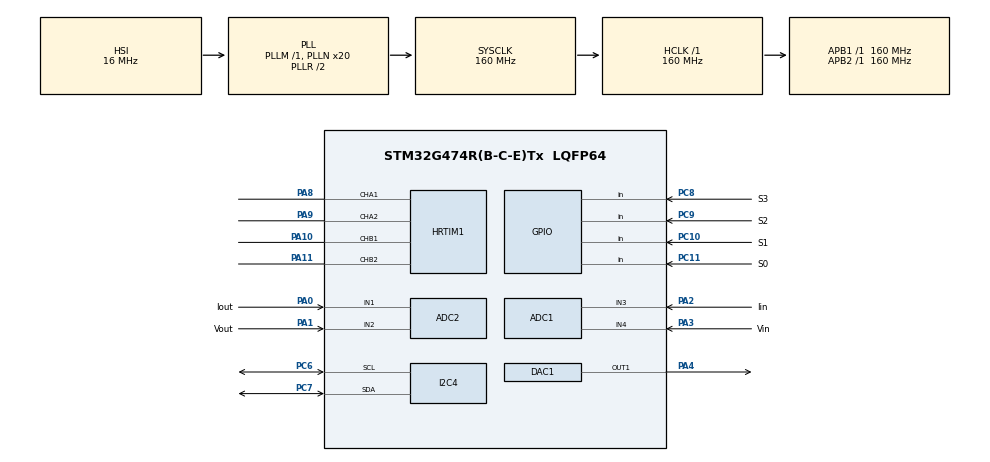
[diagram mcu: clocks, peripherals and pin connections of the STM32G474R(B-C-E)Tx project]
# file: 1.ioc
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ADC1.EnableInjectedConversion=ENABLE
ADC1.EnableRegularConversion=DISABLE
ADC1.ExternalTrigInjecConv=ADC_EXTERNALTRIGINJEC_HRTIM_TRG2
ADC1.InjNumberOfConversion=2
ADC1.InjectedChannel-5\#ChannelInjectedConversion=ADC_CHANNEL_3
ADC1.InjectedChannel-6\#ChannelInjectedConversion=ADC_CHANNEL_4
ADC1.InjectedConvMode=None
ADC1.InjectedOffsetNumber-5\#ChannelInjectedConversion=ADC_OFFSET_NONE
ADC1.InjectedOffsetNumber-6\#ChannelInjectedConversion=ADC_OFFSET_NONE
ADC1.InjectedRank-5\#ChannelInjectedConversion=1
ADC1.InjectedRank-6\#ChannelInjectedConversion=2
ADC1.InjectedSamplingTime-5\#ChannelInjectedConversion=ADC_SAMPLETIME_2CYCLES_5
ADC1.InjectedSamplingTime-6\#ChannelInjectedConversion=ADC_SAMPLETIME_2CYCLES_5
ADC1.Rank1_Channel=ADC_CHANNEL_3
ADC1.Rank2_Channel=ADC_CHANNEL_4
ADC1.Rank3_Channel=ADC_CHANNEL_1
ADC1.Rank4_Channel=ADC_CHANNEL_1
ADC1.master=1
ADC2.EnableInjectedConversion=ENABLE
ADC2.EnableRegularConversion=DISABLE
ADC2.ExternalTrigInjecConv=ADC_EXTERNALTRIGINJEC_HRTIM_TRG2
ADC2.InjNumberOfConversion=2
ADC2.InjectedChannel-3\#ChannelInjectedConversion=ADC_CHANNEL_1
ADC2.InjectedChannel-4\#ChannelInjectedConversion=ADC_CHANNEL_1
ADC2.InjectedOffsetNumber-3\#ChannelInjectedConversion=ADC_OFFSET_NONE
ADC2.InjectedOffsetNumber-4\#ChannelInjectedConversion=ADC_OFFSET_NONE
ADC2.InjectedRank-3\#ChannelInjectedConversion=1
ADC2.InjectedRank-4\#ChannelInjectedConversion=2
ADC2.InjectedSamplingTime-3\#ChannelInjectedConversion=ADC_SAMPLETIME_2CYCLES_5
ADC2.InjectedSamplingTime-4\#ChannelInjectedConversion=ADC_SAMPLETIME_2CYCLES_5
ADC2.Rank1_Channel=ADC_CHANNEL_1
ADC2.Rank2_Channel=ADC_CHANNEL_1
DAC1.DAC_Trigger_OUT1-DAC_OUT1_ExtAndInt=DAC_TRIGGER_SOFTWARE
HRTIM1.ADCTrigger2_Source1=HRTIM_ADCTRIGGEREVENT24_TIMERA_CMP2
HRTIM1.ADCTrigger_Id2=HRTIM_ADCTRIGGER_2
HRTIM1.CompareUnit1-Output_TA1TA2=HRTIM_COMPAREUNIT_1
HRTIM1.CompareUnit1-Output_TB1TB2=HRTIM_COMPAREUNIT_1
HRTIM1.CompareUnit2-Output_TA1TA2=HRTIM_COMPAREUNIT_2
HRTIM1.CompareUnit2-Output_TB1TB2=HRTIM_COMPAREUNIT_2
HRTIM1.CompareUnit3-Output_TA1TA2=__NULL
HRTIM1.CompareUnit3-Output_TB1TB2=__NULL
HRTIM1.CompareValue1-Output_TA1TA2=25600
HRTIM1.CompareValue1-Output_TB1TB2=25600
HRTIM1.CompareValue2-Output_TA1TA2=25600
HRTIM1.CompareValue2-Output_TB1TB2=25600
HRTIM1.DeadTimeInsertion-Output_TA1TA2=HRTIM_TIMDEADTIMEINSERTION_ENABLED
HRTIM1.DeadTimeInsertion-Output_TB1TB2=HRTIM_TIMDEADTIMEINSERTION_ENABLED
HRTIM1.NumberADCTriggerSource2=1
HRTIM1.NumberResetSource1-Output_TA1TA2=1
HRTIM1.NumberResetSource1-Output_TB1TB2=1
HRTIM1.NumberResetTrigger-Output_TA1TA2=0
HRTIM1.NumberSetSource1-Output_TA1TA2=1
HRTIM1.NumberSetSource1-Output_TB1TB2=1
HRTIM1.ORingUpdateSource_ADCTrigger2=HRTIM_ADCTRIGGERUPDATE_TIMER_A
HRTIM1.Periode_TA=51200
HRTIM1.Periode_TB=51200
HRTIM1.PreloadEnable-Output_TA1TA2=HRTIM_PRELOAD_ENABLED
HRTIM1.PreloadEnable-Output_TB1TB2=HRTIM_PRELOAD_ENABLED
HRTIM1.PrescalerRatio_TA=HRTIM_PRESCALERRATIO_MUL16
HRTIM1.PrescalerRatio_TB=HRTIM_PRESCALERRATIO_MUL16
HRTIM1.ResetOutput1_Source1-Output_TA1TA2=HRTIM_OUTPUTRESET_TIMPER
HRTIM1.ResetOutput1_Source1-Output_TB1TB2=HRTIM_OUTPUTRESET_TIMPER
HRTIM1.RisingValue-Output_TA1TA2=100
HRTIM1.RisingValue-Output_TB1TB2=100
HRTIM1.SetOutput1_Source1-Output_TA1TA2=HRTIM_OUTPUTSET_TIMCMP1
HRTIM1.SetOutput1_Source1-Output_TB1TB2=HRTIM_OUTPUTSET_TIMCMP1
HRTIM1.UpDownMode-Output_TA1TA2=HRTIM_TIMERUPDOWNMODE_UP
I2C4.Timing=0x30D29DE4
Mcu.Family=STM32G4
Mcu.Name=STM32G474R(B-C-E)Tx
Mcu.Package=LQFP64
NVIC.ADC1_2_IRQn=true\:0\:0\:false\:false\:true\:true\:true\:true
NVIC.HRTIM1_Master_IRQn=false\:0\:0\:false\:false\:true\:true\:true\:true
NVIC.PriorityGroup=NVIC_PRIORITYGROUP_4
PA0.GPIO_Label=Iout
PA0.Mode=IN1-Single-Ended
PA0.Signal=ADC2_IN1
PA1.GPIO_Label=Vout
PA1.Mode=IN2-Single-Ended
PA1.Signal=ADC2_IN2
PA10.Mode=Output_TB1TB2
PA10.Signal=HRTIM1_CHB1
PA11.Mode=Output_TB1TB2
PA11.Signal=HRTIM1_CHB2
PA13.Mode=Serial_Wire
PA13.Signal=SYS_JTMS-SWDIO
PA14.Mode=Serial_Wire
PA14.Signal=SYS_JTCK-SWCLK
PA2.GPIO_Label=Iin
PA2.Mode=IN3-Single-Ended
PA2.Signal=ADC1_IN3
PA3.GPIO_Label=Vin
PA3.Mode=IN4-Single-Ended
PA3.Signal=ADC1_IN4
PA4.Signal=COMP_DAC11_group
PA8.Mode=Output_TA1TA2
PA8.Signal=HRTIM1_CHA1
PA9.Mode=Output_TA1TA2
PA9.Signal=HRTIM1_CHA2
PC10.GPIO_Label=S1
PC10.GPIO_PuPd=GPIO_PULLUP
PC10.Signal=GPIO_Input
PC11.GPIO_Label=S0
PC11.GPIO_PuPd=GPIO_PULLUP
PC11.Signal=GPIO_Input
PC6.Mode=I2C
PC6.Signal=I2C4_SCL
PC7.Mode=I2C
PC7.Signal=I2C4_SDA
PC8.GPIO_Label=S3
PC8.GPIO_PuPd=GPIO_PULLUP
PC8.Signal=GPIO_Input
PC9.GPIO_Label=S2
PC9.GPIO_PuPd=GPIO_PULLUP
PC9.Signal=GPIO_Input
PF0-OSC_IN.Mode=HSE-External-Oscillator
PF0-OSC_IN.Signal=RCC_OSC_IN
PF1-OSC_OUT.Mode=HSE-External-Oscillator
PF1-OSC_OUT.Signal=RCC_OSC_OUT
ProjectManager.HeapSize=0x200
ProjectManager.StackSize=0x400
ProjectManager.TargetToolchain=MDK-ARM V5.32
RCC.ADC12Freq_Value=160000000
RCC.ADC345Freq_Value=160000000
RCC.AHBFreq_Value=160000000
RCC.APB1Freq_Value=160000000
RCC.APB1TimFreq_Value=160000000
RCC.APB2Freq_Value=160000000
RCC.APB2TimFreq_Value=160000000
RCC.CortexFreq_Value=160000000
RCC.EXTERNAL_CLOCK_VALUE=12288000
RCC.HCLKFreq_Value=160000000
RCC.HSE_VALUE=8000000
RCC.HSI48_VALUE=48000000
RCC.HSI_VALUE=16000000
RCC.LSE_VALUE=32768
RCC.PLLN=20
RCC.SYSCLKFreq_VALUE=160000000
RCC.SYSCLKSource=RCC_SYSCLKSOURCE_PLLCLK
RCC.USBFreq_Value=160000000
RCC.VCOOutputFreq_Value=320000000
SH.COMP_DAC11_group.0=DAC1_OUT1,DAC_OUT1_ExtAndInt
STMicroelectronics.X-CUBE-ALGOBUILD.1.5.0.LibraryCcDSPOoLibraryJjDSPOoLibrary=true
VP_STMicroelectronics.X-CUBE-ALGOBUILD_VS_DSPOoLibraryJjLibrary_1.5.0_1.5.0.Mode=DSPOoLibraryJjLibrary
VP_SYS_VS_DBSignals.Mode=DisableDeadBatterySignals
board=custom

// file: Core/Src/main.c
/* USER CODE BEGIN Header */
/**
  ******************************************************************************
  * @file           : main.c
  * @brief          : Main program body
  ******************************************************************************
  * @attention
  *
  * Copyright (c) 2026 STMicroelectronics.
  * All rights reserved.
  *
  * This software is licensed under terms that can be found in the LICENSE file
  * in the root directory of this software component.
  * If no LICENSE file comes with this software, it is provided AS-IS.
  *
  ******************************************************************************
  */
/* USER CODE END Header */
#include "main.h"
#include "adc.h"
#include "dac.h"
#include "hrtim.h"
#include "i2c.h"
#include "gpio.h"

/* USER CODE BEGIN Includes */
/* SG 封装库 */
#include "sg_global.h"
#include "sg_tasks.h"
#include "sg_adc.h"
#include "sg_protect.h"
#include "sg_pwm.h"
#include "sg_sched.h"
#include "sg_oled.h"
#include "sg_user.h"
/* HAL 库 */
#include "i2c.h"
#include "arm_math.h"
#include <stdio.h>
/* USER CODE END Includes */

void SystemClock_Config(void);
/* USER CODE BEGIN PFP */
void MX_GPIO_UserInit(void);   /* 定义在 gpio.c 的 USER CODE 区域 */
/* USER CODE END PFP */

int main(void)
{

  /* MCU Configuration--------------------------------------------------------*/

  /* Reset of all peripherals, Initializes the Flash interface and the Systick. */
  HAL_Init();

  /* Configure the system clock */
  SystemClock_Config();

  /* Initialize all configured peripherals */
  MX_GPIO_Init();
  MX_ADC1_Init();
  MX_ADC2_Init();
  MX_HRTIM1_Init();
  MX_DAC1_Init();
  MX_I2C4_Init();
  /* USER CODE BEGIN 2 */

  MX_GPIO_UserInit();    /* 扩展 GPIO: PB0(LED Green) + PB11(LED Red) + PC12(继电器) */
  sg_protect_init();     /* 保护模块初始化 */
  sg_user_init();        /* ADC 校准 / HRTIM DLL校准 / 任务注册 */

  /*
   * 安全默认状态:
   * - HRTIM A/B 计数器已同步运行，用于 ADC 触发并保持桥臂同步；
   * - 所有功率 PWM 输出保持关闭；
   * - 必须由按键置位 g_run_flag，且母线电压满足条件后控制器才允许输出。
   */
  g_run_flag = 0;
  sg_pwm_stop();
  HAL_GPIO_WritePin(key_relay_GPIO_Port, key_relay_Pin, GPIO_PIN_RESET);

  /* USER CODE END 2 */

  /* Infinite loop */
  while (1)
  {

    /* USER CODE BEGIN 3 */
    sg_sched_run();        /* 周期任务调度 */
  }
  /* USER CODE END 3 */
}

void SystemClock_Config(void)
{
  RCC_OscInitTypeDef RCC_OscInitStruct = {0};
  RCC_ClkInitTypeDef RCC_ClkInitStruct = {0};

  /** Configure the main internal regulator output voltage
  */
  HAL_PWREx_ControlVoltageScaling(PWR_REGULATOR_VOLTAGE_SCALE1_BOOST);

  /** Initializes the RCC Oscillators according to the specified parameters
  * in the RCC_OscInitTypeDef structure.
  */
  RCC_OscInitStruct.OscillatorType = RCC_OSCILLATORTYPE_HSI;
  RCC_OscInitStruct.HSIState = RCC_HSI_ON;
  RCC_OscInitStruct.HSICalibrationValue = RCC_HSICALIBRATION_DEFAULT;
  RCC_OscInitStruct.PLL.PLLState = RCC_PLL_ON;
  RCC_OscInitStruct.PLL.PLLSource = RCC_PLLSOURCE_HSI;
  RCC_OscInitStruct.PLL.PLLM = RCC_PLLM_DIV1;
  RCC_OscInitStruct.PLL.PLLN = 20;
  RCC_OscInitStruct.PLL.PLLP = RCC_PLLP_DIV2;
  RCC_OscInitStruct.PLL.PLLQ = RCC_PLLQ_DIV2;
  RCC_OscInitStruct.PLL.PLLR = RCC_PLLR_DIV2;
  if (HAL_RCC_OscConfig(&RCC_OscInitStruct) != HAL_OK)
  {
    Error_Handler();
  }

  /** Initializes the CPU, AHB and APB buses clocks
  */
  RCC_ClkInitStruct.ClockType = RCC_CLOCKTYPE_HCLK|RCC_CLOCKTYPE_SYSCLK
                              |RCC_CLOCKTYPE_PCLK1|RCC_CLOCKTYPE_PCLK2;
  RCC_ClkInitStruct.SYSCLKSource = RCC_SYSCLKSOURCE_PLLCLK;
  RCC_ClkInitStruct.AHBCLKDivider = RCC_SYSCLK_DIV1;
  RCC_ClkInitStruct.APB1CLKDivider = RCC_HCLK_DIV1;
  RCC_ClkInitStruct.APB2CLKDivider = RCC_HCLK_DIV1;

  if (HAL_RCC_ClockConfig(&RCC_ClkInitStruct, FLASH_LATENCY_4) != HAL_OK)
  {
    Error_Handler();
  }
}

/* USER CODE BEGIN 4 */

/* -----------------------------------------------------------------
 * ADC 注入转换完成中断回调 — 控制环主入口
 * ADC1 + ADC2 均由 HRTIM_TRG2 触发注入转换, 共享 ADC1_2_IRQn
 * 两路 ADC 完成后统一执行: 预处理 -> 控制环
 *
 * 通道映射 (adc.c):
 *   ADC1 Rank1 (PA2) = 输入电流 Iin
 *   ADC1 Rank2 (PA3) = 输入电压 Vin (母线DC)
 *   ADC2 Rank1 (PA0) = 输出电流 Iout
 *   ADC2 Rank2 (PA1) = 输出电压 Vout (AC)
 * ----------------------------------------------------------------- */
void HAL_ADCEx_InjectedConvCpltCallback(ADC_HandleTypeDef *hadc)
{
    if (hadc->Instance == ADC1)
    {
        g_adc1_r1 = HAL_ADCEx_InjectedGetValue(&hadc1, ADC_INJECTED_RANK_1);
        g_adc1_r2 = HAL_ADCEx_InjectedGetValue(&hadc1, ADC_INJECTED_RANK_2);
        g_adc1_done = 1;
    }
    else if (hadc->Instance == ADC2)
    {
        g_adc2_r1 = HAL_ADCEx_InjectedGetValue(&hadc2, ADC_INJECTED_RANK_1);
        g_adc2_r2 = HAL_ADCEx_InjectedGetValue(&hadc2, ADC_INJECTED_RANK_2);
        g_adc2_done = 1;
    }

    /* ADC1 + ADC2 均完成后执行控制环 */
    if (g_adc1_done && g_adc2_done)
    {
        g_adc1_done = 0;
        g_adc2_done = 0;

        /* ISR 执行时间测量: DWT->CYCCNT @ 160MHz, 1cycle = 6.25ns */
        uint32_t t0 = DWT->CYCCNT;

        if (g_adc_preproc) g_adc_preproc();   /* 原始码 -> 物理量 + RMS */
        sg_protect_fast_check(I_line[0]);      /* 每个 PWM 周期检查双向过流 */
        if (g_control_isr) g_control_isr();   /* 逆变控制环 */

        uint32_t t1 = DWT->CYCCNT;
        g_isr_khz = (float)(t1 - t0) / 160.0f; /* 执行时间 [us] */

        g_adc_data_ready = 1;
    }
}

/* USER CODE END 4 */

void Error_Handler(void)
{
  __disable_irq();
  while (1)
  {
  }
}
